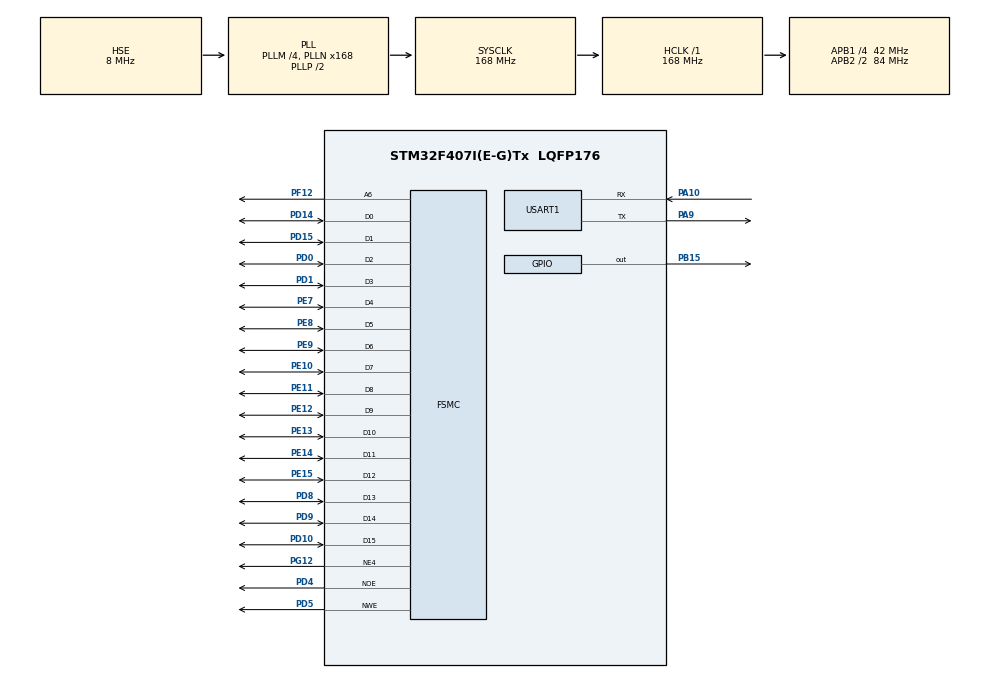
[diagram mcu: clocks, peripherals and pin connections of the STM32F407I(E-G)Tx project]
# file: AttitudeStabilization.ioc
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Dma.Request0=USART1_RX
Dma.Request1=USART1_TX
Dma.USART1_RX.0.Direction=DMA_PERIPH_TO_MEMORY
Dma.USART1_RX.0.FIFOMode=DMA_FIFOMODE_DISABLE
Dma.USART1_RX.0.Instance=DMA2_Stream2
Dma.USART1_RX.0.MemDataAlignment=DMA_MDATAALIGN_BYTE
Dma.USART1_RX.0.MemInc=DMA_MINC_ENABLE
Dma.USART1_RX.0.Mode=DMA_CIRCULAR
Dma.USART1_RX.0.PeriphDataAlignment=DMA_PDATAALIGN_BYTE
Dma.USART1_RX.0.PeriphInc=DMA_PINC_DISABLE
Dma.USART1_RX.0.Priority=DMA_PRIORITY_LOW
Dma.USART1_TX.1.Direction=DMA_MEMORY_TO_PERIPH
Dma.USART1_TX.1.FIFOMode=DMA_FIFOMODE_DISABLE
Dma.USART1_TX.1.Instance=DMA2_Stream7
Dma.USART1_TX.1.MemDataAlignment=DMA_MDATAALIGN_BYTE
Dma.USART1_TX.1.MemInc=DMA_MINC_ENABLE
Dma.USART1_TX.1.Mode=DMA_NORMAL
Dma.USART1_TX.1.PeriphDataAlignment=DMA_PDATAALIGN_BYTE
Dma.USART1_TX.1.PeriphInc=DMA_PINC_DISABLE
Dma.USART1_TX.1.Priority=DMA_PRIORITY_LOW
FREERTOS.Tasks01=defaultTask,0,128,StartDefaultTask,Default,NULL,Dynamic,NULL,NULL;DataRecv,2,128,StartDataRecv,Default,NULL,Dynamic,NULL,NULL;LCDConrtol,0,128,StartLCDCTL,Default,NULL,Dynamic,NULL,NULL;DataProcess,2,128,StartDataProcess,Default,NULL,Dynamic,NULL,NULL
FREERTOS.configUSE_IDLE_HOOK=0
FREERTOS.configUSE_TICKLESS_IDLE=0
FREERTOS.configUSE_TIMERS=1
FSMC.BusTurnAroundDuration1=0
FSMC.DataSetupTime1=60
FSMC.ExtendedAddressSetupTime1=9
FSMC.ExtendedBusTurnAroundDuration1=0
FSMC.ExtendedDataSetupTime1=8
FSMC.ExtendedMode1=FSMC_EXTENDED_MODE_ENABLE
Mcu.Family=STM32F4
Mcu.Name=STM32F407I(E-G)Tx
Mcu.Package=LQFP176
NVIC.DMA2_Stream2_IRQn=true\:5\:0\:false\:false\:true\:true\:false\:true\:true
NVIC.DMA2_Stream7_IRQn=true\:5\:0\:false\:false\:true\:true\:false\:true\:true
NVIC.PriorityGroup=NVIC_PRIORITYGROUP_4
NVIC.TIM7_IRQn=true\:15\:0\:false\:false\:true\:false\:false\:true\:true
NVIC.TimeBase=TIM7_IRQn
NVIC.TimeBaseIP=TIM7
NVIC.USART1_IRQn=true\:5\:0\:false\:false\:true\:true\:true\:true\:true
PA10.GPIO_ModeDefaultPP=GPIO_MODE_AF_PP
PA10.Mode=Asynchronous
PA10.Signal=USART1_RX
PA13.Mode=Serial_Wire
PA13.Signal=SYS_JTMS-SWDIO
PA14.Mode=Serial_Wire
PA14.Signal=SYS_JTCK-SWCLK
PA9.GPIO_ModeDefaultPP=GPIO_MODE_AF_PP
PA9.Mode=Asynchronous
PA9.Signal=USART1_TX
PB15.GPIO_PuPd=GPIO_PULLDOWN
PB15.Signal=GPIO_Output
PD0.Signal=FSMC_D2_DA2
PD1.Signal=FSMC_D3_DA3
PD10.Signal=FSMC_D15_DA15
PD14.Signal=FSMC_D0_DA0
PD15.Signal=FSMC_D1_DA1
PD4.Signal=FSMC_NOE
PD5.Signal=FSMC_NWE
PD8.Signal=FSMC_D13_DA13
PD9.Signal=FSMC_D14_DA14
PE10.Signal=FSMC_D7_DA7
PE11.Signal=FSMC_D8_DA8
PE12.Signal=FSMC_D9_DA9
PE13.Signal=FSMC_D10_DA10
PE14.Signal=FSMC_D11_DA11
PE15.Signal=FSMC_D12_DA12
PE7.Signal=FSMC_D4_DA4
PE8.Signal=FSMC_D5_DA5
PE9.Signal=FSMC_D6_DA6
PF12.Signal=FSMC_A6
PG12.Mode=NorPsramChipSelect4_1
PG12.Signal=FSMC_NE4
PH0-OSC_IN.Mode=HSE-External-Oscillator
PH0-OSC_IN.Signal=RCC_OSC_IN
PH1-OSC_OUT.Mode=HSE-External-Oscillator
PH1-OSC_OUT.Signal=RCC_OSC_OUT
ProjectManager.HeapSize=0x800
ProjectManager.StackSize=0x800
ProjectManager.TargetToolchain=MDK-ARM V5.27
RCC.48MHZClocksFreq_Value=84000000
RCC.AHBFreq_Value=168000000
RCC.APB1CLKDivider=RCC_HCLK_DIV4
RCC.APB1Freq_Value=42000000
RCC.APB1TimFreq_Value=84000000
RCC.APB2CLKDivider=RCC_HCLK_DIV2
RCC.APB2Freq_Value=84000000
RCC.APB2TimFreq_Value=168000000
RCC.CortexFreq_Value=168000000
RCC.HCLKFreq_Value=168000000
RCC.HSE_VALUE=8000000
RCC.HSI_VALUE=16000000
RCC.LSE_VALUE=32768
RCC.PLLM=4
RCC.PLLN=168
RCC.PLLSourceVirtual=RCC_PLLSOURCE_HSE
RCC.SYSCLKFreq_VALUE=168000000
RCC.SYSCLKSource=RCC_SYSCLKSOURCE_PLLCLK
RCC.VCOOutputFreq_Value=336000000
SH.FSMC_A6.0=FSMC_A6,A6_1
SH.FSMC_D0_DA0.0=FSMC_D0,16b-d1
SH.FSMC_D10_DA10.0=FSMC_D10,16b-d1
SH.FSMC_D11_DA11.0=FSMC_D11,16b-d1
SH.FSMC_D12_DA12.0=FSMC_D12,16b-d1
SH.FSMC_D13_DA13.0=FSMC_D13,16b-d1
SH.FSMC_D14_DA14.0=FSMC_D14,16b-d1
SH.FSMC_D15_DA15.0=FSMC_D15,16b-d1
SH.FSMC_D1_DA1.0=FSMC_D1,16b-d1
SH.FSMC_D2_DA2.0=FSMC_D2,16b-d1
SH.FSMC_D3_DA3.0=FSMC_D3,16b-d1
SH.FSMC_D4_DA4.0=FSMC_D4,16b-d1
SH.FSMC_D5_DA5.0=FSMC_D5,16b-d1
SH.FSMC_D6_DA6.0=FSMC_D6,16b-d1
SH.FSMC_D7_DA7.0=FSMC_D7,16b-d1
SH.FSMC_D8_DA8.0=FSMC_D8,16b-d1
SH.FSMC_D9_DA9.0=FSMC_D9,16b-d1
SH.FSMC_NOE.0=FSMC_NOE,Lcd1
SH.FSMC_NWE.0=FSMC_NWE,Lcd1
STMicroelectronics.X-CUBE-AI.10.0.0.ActivationBufferSizeList=84592
STMicroelectronics.X-CUBE-AI.10.0.0.ActivationBuffers=pool0
STMicroelectronics.X-CUBE-AI.10.0.0.ActivationNames=pool0
STMicroelectronics.X-CUBE-AI.10.0.0.ActivationSizes=AI_NETWORK_DATA_ACTIVATION_1_SIZE
STMicroelectronics.X-CUBE-AI.10.0.0.ApplicationCcDeviceJjApplication=Validation
STMicroelectronics.X-CUBE-AI.10.0.0.BSP.number=1
STMicroelectronics.X-CUBE-AI.10.0.0.HeapSize=0x800
STMicroelectronics.X-CUBE-AI.10.0.0.InternalRamActivationBufferMaxSize=AI_NETWORK_DATA_ACTIVATIONS_SIZE
STMicroelectronics.X-CUBE-AI.10.0.0.LatestDirectoryUsed-5081d3b3d7806bf72ed8195b557103ff620e20877d0fd5100fe503a91f835b19=F\:\\examples\\nnet\\data
STMicroelectronics.X-CUBE-AI.10.0.0.MaximumNumberOfInputLayer=1
STMicroelectronics.X-CUBE-AI.10.0.0.MaximumNumberOfOutputLayer=1
STMicroelectronics.X-CUBE-AI.10.0.0.MaximumSizeOfInputLayer=1
STMicroelectronics.X-CUBE-AI.10.0.0.MaximumSizeOfOutputLayer=1,1
STMicroelectronics.X-CUBE-AI.10.0.0.ModelActualCompression-5081d3b3d7806bf72ed8195b557103ff620e20877d0fd5100fe503a91f835b19=0.0
STMicroelectronics.X-CUBE-AI.10.0.0.ModelCompression-5081d3b3d7806bf72ed8195b557103ff620e20877d0fd5100fe503a91f835b19=None
STMicroelectronics.X-CUBE-AI.10.0.0.ModelFlashOccupation-5081d3b3d7806bf72ed8195b557103ff620e20877d0fd5100fe503a91f835b19=349578
STMicroelectronics.X-CUBE-AI.10.0.0.ModelHashList=5081d3b3d7806bf72ed8195b557103ff620e20877d0fd5100fe503a91f835b19
STMicroelectronics.X-CUBE-AI.10.0.0.ModelKind-5081d3b3d7806bf72ed8195b557103ff620e20877d0fd5100fe503a91f835b19=ONNX
STMicroelectronics.X-CUBE-AI.10.0.0.ModelMacc-5081d3b3d7806bf72ed8195b557103ff620e20877d0fd5100fe503a91f835b19=3224081
STMicroelectronics.X-CUBE-AI.10.0.0.ModelName-5081d3b3d7806bf72ed8195b557103ff620e20877d0fd5100fe503a91f835b19=network
STMicroelectronics.X-CUBE-AI.10.0.0.ModelNameList=network
STMicroelectronics.X-CUBE-AI.10.0.0.ModelRamOccupation-5081d3b3d7806bf72ed8195b557103ff620e20877d0fd5100fe503a91f835b19=84592
STMicroelectronics.X-CUBE-AI.10.0.0.ModelStructureFile-5081d3b3d7806bf72ed8195b557103ff620e20877d0fd5100fe503a91f835b19=F\:\\examples\\nnet\\data\\digitsMIMO.onnx
STMicroelectronics.X-CUBE-AI.10.0.0.ModelType-5081d3b3d7806bf72ed8195b557103ff620e20877d0fd5100fe503a91f835b19=STM32Cube.AI MCU runtime
STMicroelectronics.X-CUBE-AI.10.0.0.ReadyForCodeGeneration=true
STMicroelectronics.X-CUBE-AI.10.0.0.StackSize=0x800
STMicroelectronics.X-CUBE-AI.10.0.0.WorkingBufferStartAddrList=0xFFFFFFFF
STMicroelectronics.X-CUBE-AI.10.0.0.XAaCUBEAaAICcArtificialOoIntelligenceJjCore=true
STMicroelectronics.X-CUBE-AI.10.0.0.copyWeightToRam=false
STMicroelectronics.X-CUBE-AI.10.0.0.customLayerConfigEnabled=false
STMicroelectronics.X-CUBE-AI.10.0.0.noOnnxIoTranspose=false
STMicroelectronics.X-CUBE-AI.10.0.0.useInputAllocation=true
STMicroelectronics.X-CUBE-AI.10.0.0.useOutputAllocation=true
STMicroelectronics.X-CUBE-AI.10.0.00.BSP.STBoard=false
STMicroelectronics.X-CUBE-AI.10.0.00.BSP.api=Unknown
STMicroelectronics.X-CUBE-AI.10.0.00.BSP.condition=\!SEMDeviceJjApplicationJjApplicationTemplate
STMicroelectronics.X-CUBE-AI.10.0.00.BSP.instance=USART1
STMicroelectronics.X-CUBE-AI.10.0.00.BSP.ip=USART
STMicroelectronics.X-CUBE-AI.10.0.00.BSP.mode=Asynchronous
STMicroelectronics.X-CUBE-AI.10.0.00.BSP.name=COM Port
STMicroelectronics.X-CUBE-AI.10.0.00.BSP.solution=USART1
USART1.VirtualMode=VM_ASYNC
VP_CRC_VS_CRC.Mode=CRC_Activate
VP_FREERTOS_VS_CMSIS_V1.Mode=CMSIS_V1
VP_STMicroelectronics.X-CUBE-AI_VS_ArtificialOoIntelligenceJjXAaCUBEAaAI_10.0.0.Mode=ArtificialOoIntelligenceJjXAaCUBEAaAI
VP_STMicroelectronics.X-CUBE-AI_VS_DeviceJjApplication_10.0.0.Mode=DeviceJjApplication
VP_SYS_VS_tim7.Mode=TIM7
board=custom

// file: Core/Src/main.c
/* USER CODE BEGIN Header */
/**
 ******************************************************************************
 * @file           : main.c
 * @brief          : Main program body
 ******************************************************************************
 * @attention
 *
 * Copyright (c) 2023 STMicroelectronics.
 * All rights reserved.
 *
 * This software is licensed under terms that can be found in the LICENSE file
 * in the root directory of this software component.
 * If no LICENSE file comes with this software, it is provided AS-IS.
 *
 ******************************************************************************
 */
/* USER CODE END Header */
#include "main.h"
#include "cmsis_os.h"
#include "crc.h"
#include "dma.h"
#include "usart.h"
#include "gpio.h"
#include "fsmc.h"
#include "app_x-cube-ai.h"

/* USER CODE BEGIN Includes */
#include "base.h"
#include "ai.h"

/* USER CODE END Includes */

/* USER CODE BEGIN PV */
unsigned char rx_buf[MAX_RECV_BUFFER];
/* USER CODE END PV */

void SystemClock_Config(void);
void MX_FREERTOS_Init(void);

/* USER CODE BEGIN 0 */
#ifdef __GNUC__
#define PUTCHAR_PROTOTYPE int __io_putchar(int ch)
#else
#define PUTCHAR_PROTOTYPE int fputc(int ch, FILE *f)
#endif
PUTCHAR_PROTOTYPE {
  HAL_UART_Transmit(&huart1, (uint8_t *)&ch, 1, 0xFFFF);

  return ch;
}
/* USER CODE END 0 */

int main(void)
{

  /* MCU Configuration--------------------------------------------------------*/

  /* Reset of all peripherals, Initializes the Flash interface and the Systick. */
  HAL_Init();

  /* Configure the system clock */
  SystemClock_Config();

  /* Initialize all configured peripherals */
  MX_GPIO_Init();
  MX_DMA_Init();
  MX_CRC_Init();
  MX_USART1_UART_Init();
  MX_FSMC_Init();
  MX_X_CUBE_AI_Init();
  /* USER CODE BEGIN 2 */

  // 启用IDLE中断
  __HAL_UART_ENABLE_IT(&huart1, UART_IT_IDLE);
  // 启动DMA接收
  HAL_UART_Receive_DMA(&huart1, (uint8_t *)rx_buf, MAX_RECV_BUFFER);
  HAL_Delay(100);
  LCD_Init();

  POINT_COLOR = BLACK;

  LCD_Clear(WHITE);
  LCD_ShowString(20, 40, 210, 24, 24, (u8 *)"Evaluation");

  AI_Init();

  printf("Loop Start\r\n");
  /* USER CODE END 2 */

  /* Call init function for freertos objects (in freertos.c) */
  MX_FREERTOS_Init();

  /* Start scheduler */
  osKernelStart();
  /* We should never get here as control is now taken by the scheduler */
  /* Infinite loop */
  while (1) {

  }
}

void SystemClock_Config(void)
{
  RCC_OscInitTypeDef RCC_OscInitStruct = {0};
  RCC_ClkInitTypeDef RCC_ClkInitStruct = {0};

  /** Configure the main internal regulator output voltage
  */
  __HAL_RCC_PWR_CLK_ENABLE();
  __HAL_PWR_VOLTAGESCALING_CONFIG(PWR_REGULATOR_VOLTAGE_SCALE1);

  /** Initializes the RCC Oscillators according to the specified parameters
  * in the RCC_OscInitTypeDef structure.
  */
  RCC_OscInitStruct.OscillatorType = RCC_OSCILLATORTYPE_HSE;
  RCC_OscInitStruct.HSEState = RCC_HSE_ON;
  RCC_OscInitStruct.PLL.PLLState = RCC_PLL_ON;
  RCC_OscInitStruct.PLL.PLLSource = RCC_PLLSOURCE_HSE;
  RCC_OscInitStruct.PLL.PLLM = 4;
  RCC_OscInitStruct.PLL.PLLN = 168;
  RCC_OscInitStruct.PLL.PLLP = RCC_PLLP_DIV2;
  RCC_OscInitStruct.PLL.PLLQ = 4;
  if (HAL_RCC_OscConfig(&RCC_OscInitStruct) != HAL_OK)
  {
    Error_Handler();
  }

  /** Initializes the CPU, AHB and APB buses clocks
  */
  RCC_ClkInitStruct.ClockType = RCC_CLOCKTYPE_HCLK|RCC_CLOCKTYPE_SYSCLK
                              |RCC_CLOCKTYPE_PCLK1|RCC_CLOCKTYPE_PCLK2;
  RCC_ClkInitStruct.SYSCLKSource = RCC_SYSCLKSOURCE_PLLCLK;
  RCC_ClkInitStruct.AHBCLKDivider = RCC_SYSCLK_DIV1;
  RCC_ClkInitStruct.APB1CLKDivider = RCC_HCLK_DIV4;
  RCC_ClkInitStruct.APB2CLKDivider = RCC_HCLK_DIV2;

  if (HAL_RCC_ClockConfig(&RCC_ClkInitStruct, FLASH_LATENCY_5) != HAL_OK)
  {
    Error_Handler();
  }
}

/* USER CODE BEGIN 4 */
void HAL_UART_IdleCallback(UART_HandleTypeDef *huart) {
	if (huart->Instance == USART1) {
    printf("IDLE\r\n");
		// 清除IDLE中断标志
    __HAL_UART_CLEAR_IDLEFLAG(&huart1);
		// 停止 DMA 传输
		HAL_UART_DMAStop(&huart1);

		// 计算接收到的数据长度
		uint16_t recv_len = MAX_RECV_BUFFER - __HAL_DMA_GET_COUNTER(huart1.hdmarx);

    // 队列塞入数据长度
    BaseType_t pxHigherPriorityTaskWoken = pdFALSE;
    xQueueSendFromISR(dataLenQueue, &recv_len, &pxHigherPriorityTaskWoken);

		// 处理接收到的数据
		for (int i = 0; i < recv_len; i++) {
				xQueueSendFromISR(dataQueue, &rx_buf[i], &pxHigherPriorityTaskWoken);
		}

		// 重新启动 DMA 接收
		HAL_UART_Receive_DMA(&huart1, (uint8_t *)rx_buf, MAX_RECV_BUFFER);

		portYIELD_FROM_ISR(pxHigherPriorityTaskWoken);
	}
}

/* USER CODE END 4 */

void HAL_TIM_PeriodElapsedCallback(TIM_HandleTypeDef *htim)
{
  if (htim->Instance == TIM7) {
    HAL_IncTick();
  }
}

void Error_Handler(void)
{
  /* USER CODE BEGIN Error_Handler_Debug */
  /* User can add his own implementation to report the HAL error return
   * state
   */
  __disable_irq();
  while (1) {
  }
  /* USER CODE END Error_Handler_Debug */
}

#ifdef  USE_FULL_ASSERT
/**
  * @brief  Reports the name of the source file and the source line number
  *         where the assert_param error has occurred.
  * @param  file: pointer to the source file name
  * @param  line: assert_param error line source number
  * @retval None
  */
void assert_failed(uint8_t *file, uint32_t line)
{
  /* USER CODE BEGIN 6 */
  /* User can add his own implementation to report the file name and line
     number, ex: printf("Wrong parameters value: file %s on line %d\r\n",
     file, line) */
  /* USER CODE END 6 */
}
#endif /* USE_FULL_ASSERT */

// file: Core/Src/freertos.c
/* USER CODE BEGIN Header */
/**
 ******************************************************************************
 * File Name          : freertos.c
 * Description        : Code for freertos applications
 ******************************************************************************
 * @attention
 *
 * Copyright (c) 2024 STMicroelectronics.
 * All rights reserved.
 *
 * This software is licensed under terms that can be found in the LICENSE file
 * in the root directory of this software component.
 * If no LICENSE file comes with this software, it is provided AS-IS.
 *
 ******************************************************************************
 */
/* USER CODE END Header */

#include "FreeRTOS.h"
#include "task.h"
#include "main.h"
#include "cmsis_os.h"

/* USER CODE BEGIN Includes */
#include "base.h"
#include "ai.h"
#include <limits.h>

/* USER CODE END Includes */

/* USER CODE BEGIN Variables */
QueueHandle_t dataQueue = NULL;
QueueHandle_t dataLenQueue = NULL;

// 事件组可以代替信号量的工作，完成任务与任务，中断与任务的通信
EventGroupHandle_t EventGroup;

unsigned char recvBuffer[MAX_RECV_BUFFER] = {0};  // 接收缓冲�?

/* USER CODE END Variables */
osThreadId defaultTaskHandle;
osThreadId DataRecvHandle;
osThreadId LCDConrtolHandle;
osThreadId DataProcessHandle;

void StartDefaultTask(void const * argument);
void StartDataRecv(void const * argument);
void StartLCDCTL(void const * argument);
void StartDataProcess(void const * argument);

void MX_FREERTOS_Init(void); /* (MISRA C 2004 rule 8.1) */

/* GetIdleTaskMemory prototype (linked to static allocation support) */
void vApplicationGetIdleTaskMemory( StaticTask_t **ppxIdleTaskTCBBuffer, StackType_t **ppxIdleTaskStackBuffer, uint32_t *pulIdleTaskStackSize );

/* GetTimerTaskMemory prototype (linked to static allocation support) */
void vApplicationGetTimerTaskMemory( StaticTask_t **ppxTimerTaskTCBBuffer, StackType_t **ppxTimerTaskStackBuffer, uint32_t *pulTimerTaskStackSize );

/* USER CODE BEGIN GET_IDLE_TASK_MEMORY */
static StaticTask_t xIdleTaskTCBBuffer;
static StackType_t xIdleStack[configMINIMAL_STACK_SIZE];

void vApplicationGetIdleTaskMemory(StaticTask_t **ppxIdleTaskTCBBuffer,
                                   StackType_t **ppxIdleTaskStackBuffer,
                                   uint32_t *pulIdleTaskStackSize) {
  *ppxIdleTaskTCBBuffer = &xIdleTaskTCBBuffer;
  *ppxIdleTaskStackBuffer = &xIdleStack[0];
  *pulIdleTaskStackSize = configMINIMAL_STACK_SIZE;
  /* place for user code */
}
/* USER CODE END GET_IDLE_TASK_MEMORY */

/* USER CODE BEGIN GET_TIMER_TASK_MEMORY */
static StaticTask_t xTimerTaskTCBBuffer;
static StackType_t xTimerStack[configTIMER_TASK_STACK_DEPTH];

void vApplicationGetTimerTaskMemory(StaticTask_t **ppxTimerTaskTCBBuffer,
                                    StackType_t **ppxTimerTaskStackBuffer,
                                    uint32_t *pulTimerTaskStackSize) {
  *ppxTimerTaskTCBBuffer = &xTimerTaskTCBBuffer;
  *ppxTimerTaskStackBuffer = &xTimerStack[0];
  *pulTimerTaskStackSize = configTIMER_TASK_STACK_DEPTH;
  /* place for user code */
}
/* USER CODE END GET_TIMER_TASK_MEMORY */

void MX_FREERTOS_Init(void) {

  /* USER CODE BEGIN RTOS_SEMAPHORES */
  /* add semaphores, ... */
  EventGroup = xEventGroupCreate();

  /* USER CODE END RTOS_SEMAPHORES */

  /* USER CODE BEGIN RTOS_QUEUES */
  /* add queues, ... */
  dataQueue = xQueueCreate(QUEUE_MAX_SIZE, sizeof(unsigned char));
  dataLenQueue = xQueueCreate(LEN_QUEUE_MAX_SIZE, sizeof(uint16_t));
  /* USER CODE END RTOS_QUEUES */

  /* Create the thread(s) */
  /* definition and creation of defaultTask */
  osThreadDef(defaultTask, StartDefaultTask, osPriorityNormal, 0, 128);
  defaultTaskHandle = osThreadCreate(osThread(defaultTask), NULL);

  /* definition and creation of DataRecv */
  osThreadDef(DataRecv, StartDataRecv, osPriorityHigh, 0, 128);
  DataRecvHandle = osThreadCreate(osThread(DataRecv), NULL);

  /* definition and creation of LCDConrtol */
  osThreadDef(LCDConrtol, StartLCDCTL, osPriorityNormal, 0, 128);
  LCDConrtolHandle = osThreadCreate(osThread(LCDConrtol), NULL);

  /* definition and creation of DataProcess */
  osThreadDef(DataProcess, StartDataProcess, osPriorityHigh, 0, 128);
  DataProcessHandle = osThreadCreate(osThread(DataProcess), NULL);

}

void StartDefaultTask(void const * argument)
{
  /* USER CODE BEGIN StartDefaultTask */

  /* Infinite loop */
  for (;;) {
    osDelay(10000);
  }
  /* USER CODE END StartDefaultTask */
}

void StartDataRecv(void const * argument)
{
  /* USER CODE BEGIN StartDataRecv */
  printf("Data recv task created \r\n");
  package_manager_init("SSSSSSSS", "EEEEEEEE");

  CommuDataType dataType;
  uint16_t dataLen = 0;

  /* Infinite loop */
  while (1) {
    if (pdTRUE!= xQueueReceive(dataLenQueue, &dataLen, portMAX_DELAY)) {
      continue;
    }

    if (dataLen >= MAX_RECV_BUFFER - 2) {
      printf("Queue len is too long, resetting\r\n");
      dataLen = 0;
      memset(recvBuffer, 0, MAX_RECV_BUFFER);
      continue;
    }

    // 接受dataLen长度的数据
    for (int i = 0; i < dataLen; i++) {
      if (pdTRUE!= xQueueReceive(dataQueue, &recvBuffer[i], portMAX_DELAY)) {
        printf("Queue receive failed\r\n");
        break;
      }
    }

    char* data = unpackage_data((char*)recvBuffer, &dataType);
    if (data == NULL) {
      printf("Unpackage failed\r\n");
      continue;
    }

    switch (dataType) {
      case telemetryType: {
        telemetryStruct* telemetry = (telemetryStruct*)data;

        xTaskNotify(DataProcessHandle, (uint32_t)telemetry, eSetValueWithOverwrite);
        break;
      }
      default:
        printf("Unknown data type: %d\r\n", dataType);
        break;
    }

    dataLen = 0;
    memset(recvBuffer, 0, MAX_RECV_BUFFER);
    release_buffer(&data);
  }

  package_manager_cleanup();
  /* USER CODE END StartDataRecv */
}

void StartLCDCTL(void const * argument)
{
  /* USER CODE BEGIN StartLCDCTL */
  printf("LCD control task created \r\n");
  int k = 0;
  char showData[30] = {0};

  /* Infinite loop */
  while (1) {
    EventBits_t bits = xEventGroupWaitBits(
        EventGroup,
        0x01,
        pdTRUE,
        pdFALSE,
        portMAX_DELAY
    );

    if ((bits & 0x01) != 0) {
      sprintf(showData, "k: %d", ++k);
      LCD_ShowString(20, 80, 210, 24, 24, (u8 *)showData);
    }
  }
  /* USER CODE END StartLCDCTL */
}

void StartDataProcess(void const * argument)
{
  /* USER CODE BEGIN StartDataProcess */
	printf("Data process task created \r\n");

  uint32_t notificationValue;
  telemetryStruct* pTelemetry;
  /* Infinite loop */
  while(1) {
    if (xTaskNotifyWait(0, ULONG_MAX, &notificationValue, portMAX_DELAY) == pdTRUE) {
      pTelemetry = (telemetryStruct*)notificationValue;
      if (pTelemetry == NULL) {
        printf("E: Failed to get telemetry data\r\n");
        continue;
      }

      AI_IOBuffer* buffer = AI_PrepareIO(pTelemetry);
      if (buffer == NULL) {
        printf("E: Failed to prepare IO buffers\r\n");
        continue;
      }

      AI_Run(buffer->inputs, buffer->outputs);
      // TODO: 处理输出结果
      pTelemetry->torqueX = 1;
      pTelemetry->torqueY = 2;
      pTelemetry->torqueZ = 3;

      // 通过串口DMA发走
      char* data = package_data(pTelemetry, telemetryType);
      if (data == NULL) {
        printf("E: Failed to package data\r\n");
        continue;
      }

      HAL_UART_Transmit_DMA(&huart1, (uint8_t*)data, strlen(data));

      AI_FreeIO(buffer);
      xEventGroupSetBits(EventGroup, 0x01);

      release_buffer(&pTelemetry);
    }
  }
  /* USER CODE END StartDataProcess */
}
